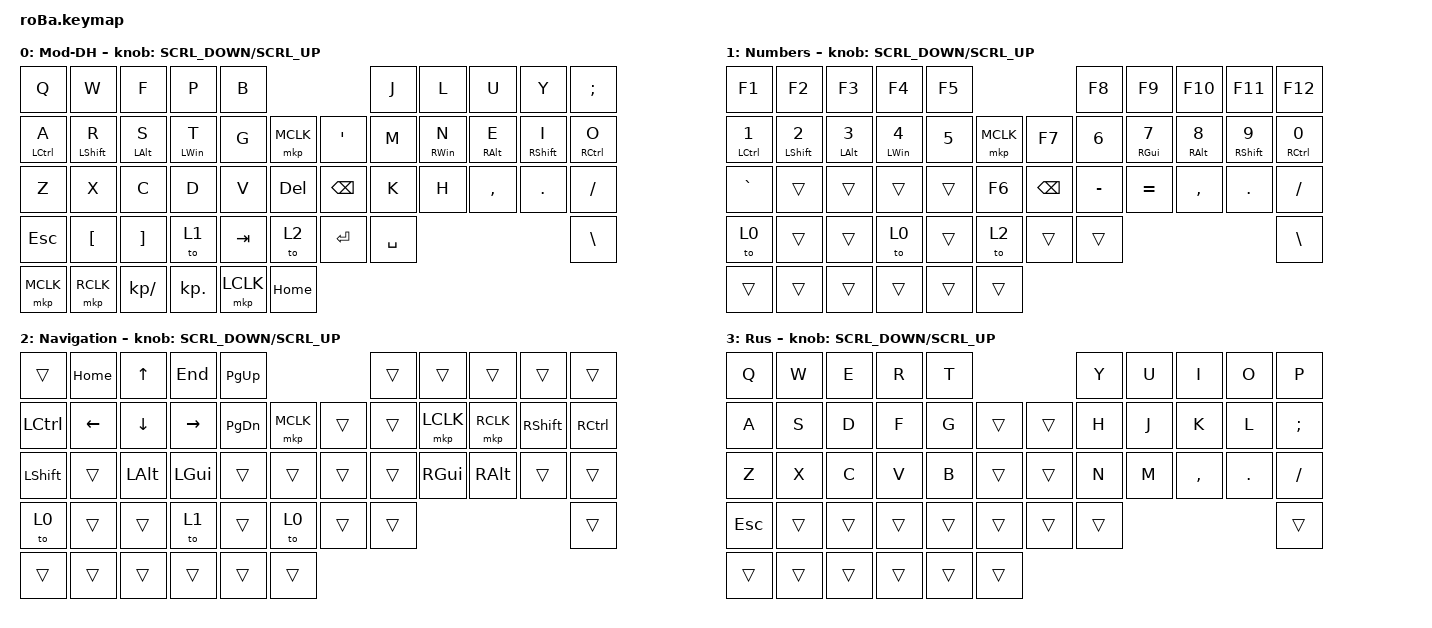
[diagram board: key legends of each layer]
#include <behaviors.dtsi>
#include <dt-bindings/zmk/keys.h>
#include <dt-bindings/zmk/pointing.h>

#define ZMK_POINTING_DEFAULT_SCRL_VAL 400
#define MOUSE 4
#define SCROLL 5
#define NUM 6

/ {
    combos { compatible = "zmk,combos"; };

    behaviors {
        hmr: hmr {
            compatible = "zmk,behavior-hold-tap";
            label = "HMR";
            bindings = <&kp>, <&kp>;

            #binding-cells = <2>;
            tapping-term-ms = <280>;
            quick-tap-ms = <175>;
            flavor = "tap-preferred";
            hold-trigger-key-positions = <0 1 2 3 4 10 11 12 13 14 15 22 23 24 25 26 27 34 35 36 37 38 39>;
            hold-trigger-on-release;
        };

        hml: hml {
            compatible = "zmk,behavior-hold-tap";
            label = "HML";
            bindings = <&kp>, <&kp>;

            #binding-cells = <2>;
            tapping-term-ms = <280>;
            quick-tap-ms = <175>;
            flavor = "tap-preferred";
            hold-trigger-key-positions = <5 6 8 9 16 17 18 19 20 21 28 29 30 31 32 33 40 41 42 7>;
            hold-trigger-on-release;
        };

        encoder_mouse: encoder_mouse {
            compatible = "zmk,behavior-sensor-rotate";
            label = "ENCODER_MOUSE";
            #sensor-binding-cells = <0>;
            bindings = <&msc SCRL_UP>, <&msc SCRL_DOWN>;

            tap-ms = <20>;
        };

        encoder_mouse_var: encoder_mouse_var {
            compatible = "zmk,behavior-sensor-rotate-var";
            label = "ENCODER_MOUSE_VAR";
            #sensor-binding-cells = <2>;
            bindings = <&msc>, <&msc>;

            tap-ms = <20>;
        };
    };

    keymap {
        compatible = "zmk,keymap";

        Mod-DH {
            bindings = <
&kp Q         &kp W              &kp F              &kp P            &kp B                                        &kp J      &kp L             &kp U             &kp Y               &kp SEMICOLON
&hml LCTRL A  &hml LEFT_SHIFT R  &hml LEFT_ALT S    &hml LEFT_WIN T  &kp G      &mkp MCLK       &kp SINGLE_QUOTE  &kp M      &hmr RIGHT_WIN N  &hmr RIGHT_ALT E  &hmr RIGHT_SHIFT I  &hmr RCTRL O
&kp Z         &kp X              &kp C              &kp D            &kp V      &kp DELETE      &kp BACKSPACE     &kp K      &kp H             &kp COMMA         &kp DOT             &kp SLASH
&kp ESCAPE    &kp LEFT_BRACKET   &kp RIGHT_BRACKET  &to 1            &kp TAB    &to 2           &kp ENTER         &kp SPACE                                                          &kp BACKSLASH
&mkp MCLK     &mkp RCLK          &kp KP_SLASH       &kp KP_DOT       &mkp LCLK  &kp HOME
            >;

            sensor-bindings = <&encoder_mouse_var SCRL_DOWN SCRL_UP>;
        };

        Numbers {
            bindings = <
&kp F1         &kp F2              &kp F3            &kp F4            &kp F5                                &kp F8     &kp F9             &kp F10            &kp F11              &kp F12
&hml LCTRL N1  &hml LEFT_SHIFT N2  &hml LEFT_ALT N3  &hml LEFT_WIN N4  &kp N5  &mkp MCLK      &kp F7         &kp N6     &hmr RIGHT_GUI N7  &hmr RIGHT_ALT N8  &hmr RIGHT_SHIFT N9  &hmr RCTRL N0
&kp GRAVE      &trans              &trans            &trans            &trans  &kp F6         &kp BACKSPACE  &kp MINUS  &kp EQUAL          &kp COMMA          &kp DOT              &kp SLASH
&to 0          &trans              &trans            &to 0             &trans  &to 2          &trans         &trans                                                                &kp BACKSLASH
&trans         &trans              &trans            &trans            &trans  &trans
            >;

            sensor-bindings = <&encoder_mouse_var SCRL_DOWN SCRL_UP>;
        };

        Navigation {
            bindings = <
&trans      &kp HOME  &kp UP        &kp END    &kp PG_UP                         &trans  &trans     &trans         &trans           &trans
&kp LCTRL   &kp LEFT  &kp DOWN      &kp RIGHT  &kp PG_DN  &mkp MCLK      &trans  &trans  &mkp LCLK  &mkp RCLK      &kp RIGHT_SHIFT  &kp RCTRL
&kp LSHIFT  &trans    &kp LEFT_ALT  &kp LGUI   &trans     &trans         &trans  &trans  &kp RGUI   &kp RIGHT_ALT  &trans           &trans
&to 0       &trans    &trans        &to 1      &trans     &to 0          &trans  &trans                                             &trans
&trans      &trans    &trans        &trans     &trans     &trans
            >;

            sensor-bindings = <&encoder_mouse_var SCRL_DOWN SCRL_UP>;
        };

        Rus {
            bindings = <
&kp Q    &kp W   &kp E   &kp R   &kp T                       &kp Y   &kp U  &kp I      &kp O    &kp P
&kp A    &kp S   &kp D   &kp F   &kp G   &trans      &trans  &kp H   &kp J  &kp K      &kp L    &kp SEMI
&kp Z    &kp X   &kp C   &kp V   &kp B   &trans      &trans  &kp N   &kp M  &kp COMMA  &kp DOT  &kp FSLH
&kp ESC  &trans  &trans  &trans  &trans  &trans      &trans  &trans                             &trans
&trans   &trans  &trans  &trans  &trans  &trans
            >;

            sensor-bindings = <&encoder_mouse_var SCRL_DOWN SCRL_UP>;
        };
    };
};
